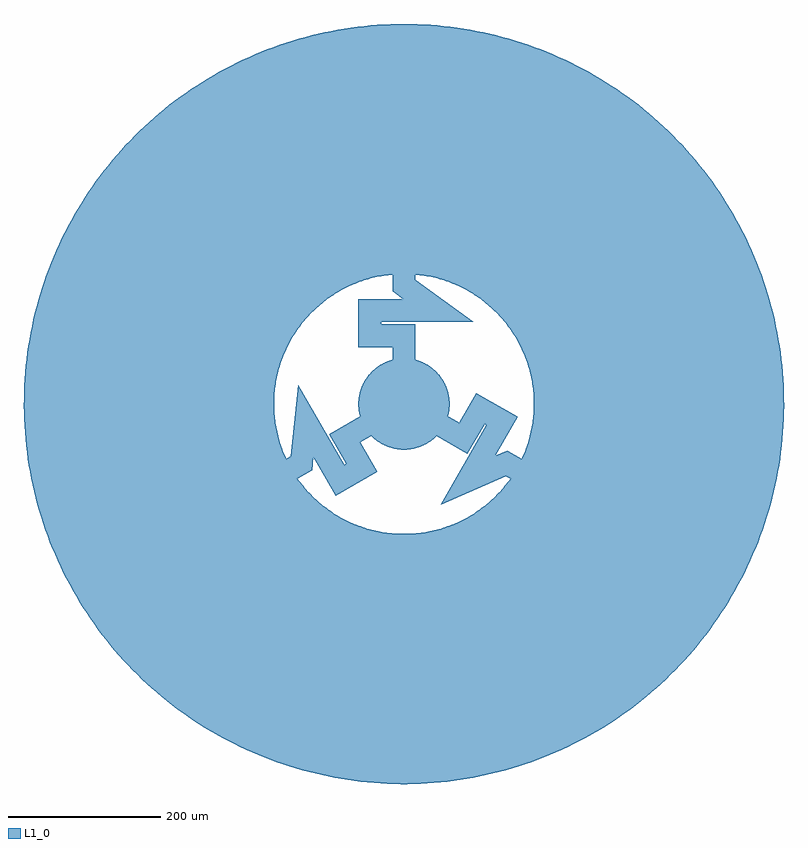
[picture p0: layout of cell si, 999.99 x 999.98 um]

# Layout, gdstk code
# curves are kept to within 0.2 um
import gdstk
lib = gdstk.Library(unit=1e-6, precision=1e-09)
def P(c, l, *ps):  # polygons
    for p in ps: c.add(gdstk.Polygon(p, *l))
L1_0 = (1, 0)

c_si = lib.new_cell('si')
P(c_si, L1_0, [(-0.525,-59.998),(-6.811,-59.612),(-11.995,-58.789),(-18.091,-57.208),(-23.022,-55.408),(-28.703,-52.689),(-34.067,-49.391),(-39.057,-45.548),(-42.888,-41.96),(-46.391,-38.051),(-50.124,-32.979),(-53.305,-27.543),(-55.508,-22.779),(-57.59,-16.835),(-58.841,-11.738),(-59.747,-5.505),(-59.995,0.788),(-59.582,7.072),(-58.736,12.252),(-57.128,18.341),(-54.891,24.228),(-52.049,29.848),(-49.241,34.283),(-45.376,39.256),(-41.772,43.071),(-37.848,46.557),(-32.759,50.268),(-27.31,53.425),(-22.536,55.607),(-17.59,57.364),(-11.48,58.892),(-5.244,59.77),(1.05,59.991),(7.332,59.55),(12.509,58.682),(17.59,57.364),(23.506,55.204),(29.163,52.436),(33.634,49.687),(38.657,45.888),(43.253,41.583),(47.374,36.82),(50.411,32.539),(53.544,27.076),(56.087,21.314),(58.012,15.318),(59.129,10.189),(59.793,4.982),(59.986,-1.313),(59.518,-7.593),(58.626,-12.766),(57.286,-17.841),(55.101,-23.747),(52.308,-29.392),(49.539,-33.851),(46.391,-38.051),(42.147,-42.704),(38.254,-46.224),(33.198,-49.979),(27.776,-53.184),(23.022,-55.408),(17.087,-57.515),(10.964,-58.99),(4.721,-59.814)],
  [(-4.375,-499.981),(-30.609,-499.062),(-56.759,-496.768),(-82.752,-493.105),(-99.958,-489.907),(-125.531,-483.985),(-150.759,-476.73),(-175.57,-468.161),(-199.898,-458.302),(-215.815,-451.025),(-239.188,-439.078),(-261.902,-425.92),(-283.894,-411.588),(-305.103,-396.121),(-325.472,-379.563),(-344.944,-361.959),(-357.4,-349.665),(-375.258,-330.426),(-392.082,-310.277),(-407.826,-289.272),(-417.699,-274.822),(-431.547,-252.522),(-440.12,-237.265),(-451.965,-213.839),(-462.565,-189.825),(-471.89,-165.287),(-479.914,-140.294),(-486.616,-114.914),(-491.976,-89.217),(-494.797,-71.945),(-497.891,-45.878),(-499.612,-19.685),(-499.957,6.563),(-499.421,24.056),(-497.47,50.233),(-495.408,67.612),(-491.176,93.519),(-487.603,110.651),(-481.124,136.089),(-476.066,152.843),(-469.838,171),(0,171),(-11.962,170.581),(-20.897,169.718),(-29.776,168.388),(-41.482,165.892),(-50.131,163.487),(-61.444,159.58),(-72.456,154.891),(-80.485,150.875),(-90.842,144.875),(-98.32,139.908),(-107.866,132.688),(-114.681,126.844),(-121.18,120.65),(-129.322,111.878),(-135.016,104.937),(-142.025,95.236),(-146.828,87.651),(-152.599,77.165),(-156.439,69.05),(-160.886,57.938),(-163.705,49.415),(-166.76,37.843),(-168.999,26.085),(-170.135,17.18),(-170.92,5.237),(-170.959,-3.741),(-170.279,-15.69),(-169.221,-24.605),(-167.085,-36.382),(-164.945,-45.101),(-162.351,-53.695),(-158.197,-64.92),(-153.269,-75.827),(-149.078,-83.766),(-144.476,-91.475),(-137.724,-101.357),(-132.214,-108.445),(-124.305,-117.428),(-117.971,-123.79),(-109.023,-131.739),(-101.958,-137.279),(-92.106,-144.075),(-81.802,-150.165),(-73.809,-154.251),(-65.612,-157.912),(-54.405,-162.114),(-42.932,-165.523),(-34.186,-167.548),(-22.382,-169.529),(-13.454,-170.47),(-4.489,-170.941),(7.48,-170.836),(19.411,-169.895),(28.301,-168.642),(37.113,-166.924),(48.698,-163.919),(57.234,-161.138),(68.365,-156.739),(79.162,-151.573),(87.007,-147.21),(97.092,-140.763),(104.345,-135.473),(113.566,-127.843),(120.119,-121.706),(128.338,-113.006),(134.092,-106.115),(139.476,-98.931),(144.476,-91.475),(149.078,-83.766),(154.572,-73.133),(159.309,-62.142),(162.351,-53.695),(164.945,-45.101),(167.085,-36.382),(169.221,-24.605),(170.279,-15.69),(170.959,-3.741),(170.92,5.237),(170.135,17.18),(168.999,26.085),(167.397,34.918),(164.544,46.542),(160.886,57.938),(157.623,66.302),(153.926,74.483),(149.805,82.459),(143.67,92.736),(138.605,100.148),(133.158,107.284),(125.328,116.336),(119.049,122.753),(110.171,130.78),(100.753,138.166),(93.363,143.263),(83.113,149.443),(75.156,153.599),(66.991,157.332),(58.642,160.63),(50.131,163.487),(41.482,165.892),(32.718,167.841),(23.864,169.327),(14.945,170.346),(5.984,170.895),(-469.838,171),(-460.886,193.865),(-453.819,209.876),(-446.196,225.63),(-438.027,241.107),(-429.321,256.289),(-415.278,278.467),(-405.279,292.83),(-394.782,306.834),(-383.802,320.462),(-372.352,333.697),(-360.446,346.524),(-348.098,358.926),(-328.781,376.7),(-315.396,387.976),(-301.625,398.776),(-287.485,409.087),(-272.992,418.898),(-258.165,428.195),(-243.021,436.968),(-227.58,445.205),(-211.86,452.897),(-195.88,460.034),(-171.467,469.68),(-154.925,475.393),(-129.762,482.868),(-112.783,487.114),(-95.667,490.763),(-78.433,493.81),(-61.104,496.252),(-43.699,498.087),(-17.498,499.694),(0,500),(17.498,499.694),(43.699,498.087),(69.779,495.107),(95.667,490.763),(121.291,485.065),(146.581,478.031),(171.467,469.68),(195.88,460.034),(211.86,452.897),(235.337,441.154),(258.165,428.195),(280.281,414.056),(294.6,403.994),(315.396,387.976),(335.323,370.888),(354.326,352.779),(372.352,333.697),(389.352,313.696),(405.279,292.83),(415.278,278.467),(429.321,256.289),(442.179,233.404),(453.819,209.876),(464.209,185.77),(473.318,161.151),(481.124,136.089),(487.603,110.651),(491.176,93.519),(495.408,67.612),(498.273,41.519),(499.421,24.056),(499.995,-2.188),(499.191,-28.425),(497.012,-54.584),(494.797,-71.945),(490.339,-97.813),(486.616,-114.914),(479.914,-140.294),(471.89,-165.287),(462.565,-189.825),(451.965,-213.839),(440.12,-237.265),(427.061,-260.036),(412.826,-282.09),(402.701,-296.365),(386.592,-317.091),(369.418,-336.943),(351.225,-355.866),(332.065,-373.809),(311.989,-390.721),(291.054,-406.556),(269.316,-421.271),(254.408,-430.438),(231.467,-443.196),(207.888,-454.733),(183.737,-465.017),(159.079,-474.019),(142.392,-479.296),(117.042,-486.108),(91.369,-491.581),(65.444,-495.699),(39.339,-498.45),(13.125,-499.828)])
c_si.add(gdstk.FlexPath([(0,0),(0,90),(-45,90),(-45,123),(45,123),(45,123),(0,156),(0,171)], 30, ends="flush", simple_path=True, layer=1, datatype=0))  # L1_0
c_si.add(gdstk.FlexPath([(0,0),(-77.942,-45),(-55.442,-83.971),(-84.021,-100.471),(-129.021,-22.529),(-129.021,-22.529),(-135.1,-78),(-148.09,-85.5)], 30, ends="flush", simple_path=True, layer=1, datatype=0))  # L1_0
c_si.add(gdstk.FlexPath([(0,0),(77.942,-45),(100.442,-6.029),(129.021,-22.529),(84.021,-100.471),(84.021,-100.471),(135.1,-78),(148.09,-85.5)], 30, ends="flush", simple_path=True, layer=1, datatype=0))  # L1_0

lib.write_gds('si.gds')
